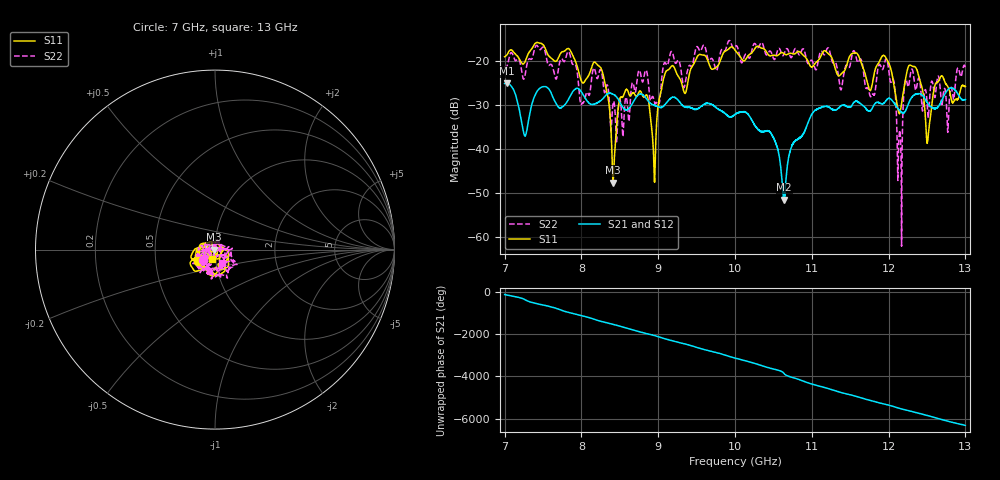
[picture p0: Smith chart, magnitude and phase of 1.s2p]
[Version] 2.0
! Rohde & Schwarz Vector Network Analyzer
! Rohde-Schwarz,ZNL20-2Port,1323001220200009,1.71.1.10-23.02.1.238
! Port Assignments:
! Nominal Port -> Actual Test Port
!  1 -> 1
!  2 -> 2
! Created: GMT+3 2024-09-24 15:06:22
# Hz S DB R 50
[Number of Ports] 2
[Two-Port Data Order] 21_12
! freq[Hz]  S11[mag dB]  S11[ang]  S21[mag dB]  S21[ang]  S12[mag dB]  S12[ang]  S22[mag dB]  S22[ang]
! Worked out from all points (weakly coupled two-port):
!   6001 points, 7 GHz to 13 GHz, reference 50 ohm
!   highest |S21| = -24.96 dB at 7.03 GHz (marker M1); lowest = -51.6 dB at 10.64 GHz (marker M2)
!   lowest |S11| = -47.6 dB at 8.412 GHz (marker M3), VSWR 1.01, Z = 49.6 - j0.121 ohm
!   |S11| at or under -10 dB: start of sweep to end of sweep
!   |S22| runs from -62.2 to -15.2 dB; largest |S21 - S12| = 0.0012
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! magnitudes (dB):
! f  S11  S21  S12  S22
! 7 GHz  -18.9  -25.0  -25.0  -21.1
! 7.03 GHz  -18.5  -25.0  -25.0  -21.2
! 7.265 GHz  -20.1  -37.0  -37.0  -23.2
! 7.833 GHz  -17.1  -28.6  -28.6  -17.7
! 8 GHz  -24.5  -27.0  -27.0  -29.8
! 8.261 GHz  -21.8  -28.8  -28.8  -22.3
! 8.412 GHz  -47.6  -27.5  -27.5  -29.5
! 8.575 GHz  -26.6  -31.0  -31.1  -28.4
! 8.854 GHz  -27.7  -28.7  -28.7  -22.5
! 8.944 GHz  -43.5  -30.0  -29.9  -28.8
! 9 GHz  -29.9  -30.4  -30.4  -29.4
! 9.169 GHz  -21.1  -28.3  -28.4  -17.8
! 10 GHz  -17.4  -32.1  -32.1  -16.6
! 10.48 GHz  -18.6  -36.9  -37.0  -18.5
! 10.64 GHz  -18.2  -51.6  -51.4  -18.3
! 11 GHz  -21.3  -32.1  -32.0  -19.8
! 12 GHz  -20.3  -28.4  -28.5  -21.8
! 12.14 GHz  -31.8  -31.2  -31.4  -35.8
! 12.3 GHz  -21.0  -28.3  -28.4  -21.8
! 12.51 GHz  -38.0  -29.5  -29.4  -31.9
! 12.67 GHz  -23.8  -29.7  -29.4  -25.6
! 13 GHz  -25.7  -28.7  -28.7  -21.5
